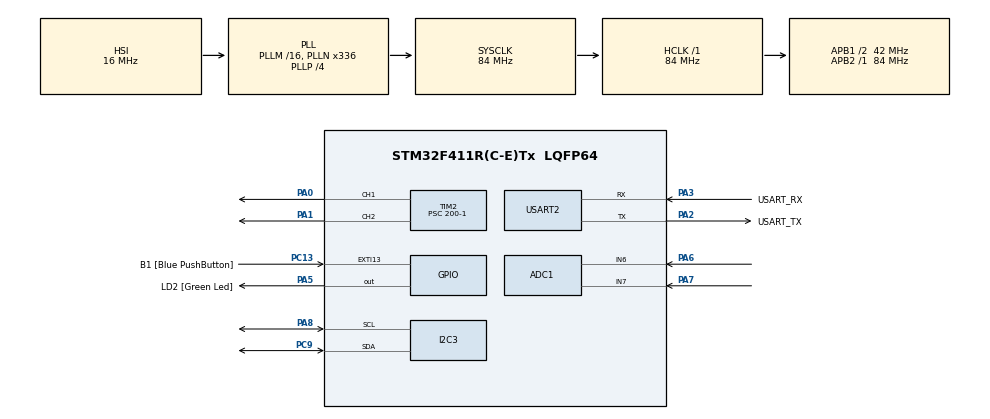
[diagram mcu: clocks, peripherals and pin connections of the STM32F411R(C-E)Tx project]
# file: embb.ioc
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ADC1.Channel-0\#ChannelRegularConversion=ADC_CHANNEL_6
ADC1.Channel-1\#ChannelRegularConversion=ADC_CHANNEL_7
ADC1.ContinuousConvMode=ENABLE
ADC1.DMAContinuousRequests=ENABLE
ADC1.NbrOfConversion=2
ADC1.NbrOfConversionFlag=1
ADC1.Rank-0\#ChannelRegularConversion=1
ADC1.Rank-1\#ChannelRegularConversion=2
ADC1.SamplingTime-0\#ChannelRegularConversion=ADC_SAMPLETIME_480CYCLES
ADC1.SamplingTime-1\#ChannelRegularConversion=ADC_SAMPLETIME_480CYCLES
ADC1.master=1
Dma.ADC1.0.Direction=DMA_PERIPH_TO_MEMORY
Dma.ADC1.0.FIFOMode=DMA_FIFOMODE_DISABLE
Dma.ADC1.0.Instance=DMA2_Stream0
Dma.ADC1.0.MemDataAlignment=DMA_MDATAALIGN_HALFWORD
Dma.ADC1.0.MemInc=DMA_MINC_ENABLE
Dma.ADC1.0.Mode=DMA_CIRCULAR
Dma.ADC1.0.PeriphDataAlignment=DMA_PDATAALIGN_HALFWORD
Dma.ADC1.0.PeriphInc=DMA_PINC_DISABLE
Dma.ADC1.0.Priority=DMA_PRIORITY_MEDIUM
Dma.Request0=ADC1
I2C3.I2C_Mode=I2C_Fast
Mcu.Family=STM32F4
Mcu.Name=STM32F411R(C-E)Tx
Mcu.Package=LQFP64
NVIC.DMA2_Stream0_IRQn=true\:0\:0\:false\:false\:true\:false\:true\:true
NVIC.EXTI15_10_IRQn=true\:0\:0\:false\:false\:true\:true\:true\:true
NVIC.PriorityGroup=NVIC_PRIORITYGROUP_0
PA0-WKUP.Signal=S_TIM2_CH1_ETR
PA1.Signal=S_TIM2_CH2
PA13.GPIO_Label=TMS
PA13.Signal=SYS_JTMS-SWDIO
PA14.GPIO_Label=TCK
PA14.Signal=SYS_JTCK-SWCLK
PA2.GPIO_Label=USART_TX
PA2.Mode=Asynchronous
PA2.Signal=USART2_TX
PA3.GPIO_Label=USART_RX
PA3.Mode=Asynchronous
PA3.Signal=USART2_RX
PA5.GPIO_Label=LD2 [Green Led]
PA5.Signal=GPIO_Output
PA6.Signal=ADCx_IN6
PA7.Signal=ADCx_IN7
PA8.Mode=I2C
PA8.Signal=I2C3_SCL
PC13-ANTI_TAMP.GPIO_Label=B1 [Blue PushButton]
PC13-ANTI_TAMP.GPIO_ModeDefaultEXTI=GPIO_MODE_IT_FALLING
PC13-ANTI_TAMP.Signal=GPXTI13
PC9.Mode=I2C
PC9.Signal=I2C3_SDA
ProjectManager.HeapSize=0x200
ProjectManager.StackSize=0x400
ProjectManager.TargetToolchain=STM32CubeIDE
RCC.48MHZClocksFreq_Value=84000000
RCC.AHBFreq_Value=84000000
RCC.APB1CLKDivider=RCC_HCLK_DIV2
RCC.APB1Freq_Value=42000000
RCC.APB1TimFreq_Value=84000000
RCC.APB2Freq_Value=84000000
RCC.APB2TimFreq_Value=84000000
RCC.CortexFreq_Value=84000000
RCC.FLatency-AdvancedSettings=FLASH_LATENCY_2
RCC.HCLKFreq_Value=84000000
RCC.HSE_VALUE=8000000
RCC.HSI_VALUE=16000000
RCC.LSE_VALUE=32768
RCC.PLLN=336
RCC.PLLP=RCC_PLLP_DIV4
RCC.SYSCLKFreq_VALUE=84000000
RCC.SYSCLKSource=RCC_SYSCLKSOURCE_PLLCLK
RCC.VCOOutputFreq_Value=336000000
SH.ADCx_IN6.0=ADC1_IN6,IN6
SH.ADCx_IN7.0=ADC1_IN7,IN7
SH.S_TIM2_CH1_ETR.0=TIM2_CH1,PWM Generation1 CH1
SH.S_TIM2_CH2.0=TIM2_CH2,PWM Generation2 CH2
TIM2.Channel-PWM\ Generation1\ CH1=TIM_CHANNEL_1
TIM2.Channel-PWM\ Generation2\ CH2=TIM_CHANNEL_2
TIM2.Period=8399
TIM2.Prescaler=200-1
USART2.VirtualMode=VM_ASYNC
board=NUCLEO-F411RE

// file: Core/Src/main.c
/* USER CODE BEGIN Header */
/**
  ******************************************************************************
  * @file           : main.c
  * @brief          : Main program body
  ******************************************************************************
  * @attention
  *
  * Copyright (c) 2025 STMicroelectronics.
  * All rights reserved.
  *
  * This software is licensed under terms that can be found in the LICENSE file
  * in the root directory of this software component.
  * If no LICENSE file comes with this software, it is provided AS-IS.
  *
  ******************************************************************************
  */
/* USER CODE END Header */
#include "main.h"
#include "adc.h"
#include "dma.h"
#include "i2c.h"
#include "tim.h"
#include "usart.h"
#include "gpio.h"

/* USER CODE BEGIN Includes */
#include "motordriver.h"
#include "liquidcrystal_i2c.h"
/* USER CODE END Includes */

/* USER CODE BEGIN PV */
typedef enum {
    STATE_RUN = 0,
    STATE_SLEEP
} SystemState_t;

volatile SystemState_t systemState = STATE_RUN;
volatile uint8_t sleepRequest = 0;
volatile uint16_t ADC_data[2];
/* USER CODE END PV */

void SystemClock_Config(void);

/* USER CODE BEGIN 0 */

// Timer tick = 420 kHz (84MHz / 200)  =>  1 ms = 420 counts
// 50 Hz PWM => period = 20ms => ARR = 420000/50 - 1 = 8399
// Servo pulse typical: 1.0ms..2.0ms => 420..840 counts

/* USER CODE END 0 */

int main(void)
{

  /* MCU Configuration--------------------------------------------------------*/

  /* Reset of all peripherals, Initializes the Flash interface and the Systick. */
  HAL_Init();

  /* Configure the system clock */
  SystemClock_Config();

  /* Initialize all configured peripherals */
  MX_GPIO_Init();
  MX_DMA_Init();
  MX_USART2_UART_Init();
  MX_TIM2_Init();
  MX_ADC1_Init();
  MX_I2C3_Init();
  /* USER CODE BEGIN 2 */
  /* USER CODE BEGIN 2 */
  HD44780_Init(2);
  HD44780_Clear();
  HD44780_Backlight();
  HD44780_SetCursor(0,0);
  HD44780_PrintStr("Starting...");
  HAL_Delay(2000);

  ADC_data[0] = 0;
  ADC_data[1] = 0;
  MotorDriver_Init(&htim2, TIM_CHANNEL_1);

  MotorDriver_Init(&htim2, TIM_CHANNEL_2);
  HD44780_Clear();
  HD44780_SetCursor(0,0);
  HD44780_PrintStr("Motor calibration ");
  HD44780_SetCursor(0,1);
  HD44780_PrintStr("has been completed");
  HAL_ADC_Start_DMA(&hadc1, (uint32_t*)ADC_data, 2);

  /* USER CODE END 2 */

  /* Infinite loop */
  /* USER CODE BEGIN WHILE */
  while (1)
  {
	  switch (systemState)
	    {
	        case STATE_RUN:

	      	  uint16_t panangle = ADC_ToAngle_0_180(ADC_data[0]);
	      	  MotorDriver_SetAngle(&htim2, TIM_CHANNEL_1, panangle);
	      	  uint16_t tiltangle = ADC_ToAngle_0_180(ADC_data[1]);
	      	  MotorDriver_SetAngle(&htim2, TIM_CHANNEL_2, tiltangle);

	      	  if (sleepRequest)
	            {
	                sleepRequest = 0;
	                systemState = STATE_SLEEP;
	            }
	            break;

	        case STATE_SLEEP:
	        	  HD44780_Clear();
	        	    HD44780_SetCursor(0,0);
	        	    HD44780_PrintStr("UYKU MODU");

	        	    HAL_ADC_Stop_DMA(&hadc1);
	        	    HAL_SuspendTick();

	        	    HAL_PWR_EnterSLEEPMode(
	        	        PWR_MAINREGULATOR_ON,
	        	        PWR_SLEEPENTRY_WFI
	        	    );
	        	    HAL_ResumeTick();
	        	    systemState = STATE_RUN;
	            break;
	    }

    /* USER CODE END WHILE */

  }
}

void SystemClock_Config(void)
{
  RCC_OscInitTypeDef RCC_OscInitStruct = {0};
  RCC_ClkInitTypeDef RCC_ClkInitStruct = {0};

  /** Configure the main internal regulator output voltage
  */
  __HAL_RCC_PWR_CLK_ENABLE();
  __HAL_PWR_VOLTAGESCALING_CONFIG(PWR_REGULATOR_VOLTAGE_SCALE1);

  /** Initializes the RCC Oscillators according to the specified parameters
  * in the RCC_OscInitTypeDef structure.
  */
  RCC_OscInitStruct.OscillatorType = RCC_OSCILLATORTYPE_HSI;
  RCC_OscInitStruct.HSIState = RCC_HSI_ON;
  RCC_OscInitStruct.HSICalibrationValue = RCC_HSICALIBRATION_DEFAULT;
  RCC_OscInitStruct.PLL.PLLState = RCC_PLL_ON;
  RCC_OscInitStruct.PLL.PLLSource = RCC_PLLSOURCE_HSI;
  RCC_OscInitStruct.PLL.PLLM = 16;
  RCC_OscInitStruct.PLL.PLLN = 336;
  RCC_OscInitStruct.PLL.PLLP = RCC_PLLP_DIV4;
  RCC_OscInitStruct.PLL.PLLQ = 4;
  if (HAL_RCC_OscConfig(&RCC_OscInitStruct) != HAL_OK)
  {
    Error_Handler();
  }

  /** Initializes the CPU, AHB and APB buses clocks
  */
  RCC_ClkInitStruct.ClockType = RCC_CLOCKTYPE_HCLK|RCC_CLOCKTYPE_SYSCLK
                              |RCC_CLOCKTYPE_PCLK1|RCC_CLOCKTYPE_PCLK2;
  RCC_ClkInitStruct.SYSCLKSource = RCC_SYSCLKSOURCE_PLLCLK;
  RCC_ClkInitStruct.AHBCLKDivider = RCC_SYSCLK_DIV1;
  RCC_ClkInitStruct.APB1CLKDivider = RCC_HCLK_DIV2;
  RCC_ClkInitStruct.APB2CLKDivider = RCC_HCLK_DIV1;

  if (HAL_RCC_ClockConfig(&RCC_ClkInitStruct, FLASH_LATENCY_2) != HAL_OK)
  {
    Error_Handler();
  }
}

/* USER CODE BEGIN 4 */
void HAL_GPIO_EXTI_Callback(uint16_t GPIO_Pin)
{
    if (GPIO_Pin == GPIO_PIN_13)
    {
        sleepRequest = 1;
    }
}
/* USER CODE END 4 */

void Error_Handler(void)
{
  __disable_irq();
  while (1)
  {
  }
}
